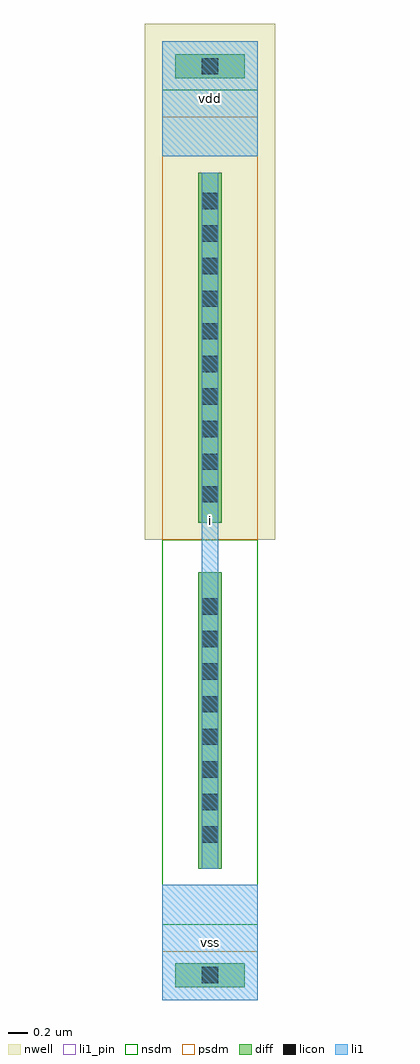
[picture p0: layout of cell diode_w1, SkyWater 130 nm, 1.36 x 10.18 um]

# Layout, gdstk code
import gdstk
lib = gdstk.Library(unit=1e-6, precision=1e-09)
def R(c, l, rs):  # rectangles x0, y0, x1, y1
    for r in rs: c.add(gdstk.rectangle(r[:2], r[2:], *l))
def A(c, l, x, y, w, h, nx, ny, dx, dy):  # array of equal rectangles
    R(c, l, [(x+i*dx, y+j*dy, x+i*dx+w, y+j*dy+h) for i in range(nx) for j in range(ny)])
nwell = (64, 20)
diff = (65, 20)
licon = (66, 44)
li1_pin = (67, 16)
li1 = (67, 20)
nsdm = (93, 44)
psdm = (94, 20)

diode_w1 = lib.new_cell('diode_w1')
R(diode_w1, nwell, [(-0.18,4.8,1.18,10.18)])
R(diode_w1, diff, [(0.135,0.135,0.865,0.385), (0.375,1.37,0.625,4.46), (0.375,4.98,0.625,8.63), (0.135,9.615,0.865,9.865)])
A(diode_w1, licon, 0.415, 1.64, 0.17, 0.17, 1, 8, 0, 0.34)
A(diode_w1, licon, 0.415, 5.19, 0.17, 0.17, 1, 10, 0, 0.34)
R(diode_w1, licon, [(0.415,0.175,0.585,0.345), (0.415,9.655,0.585,9.825)])
R(diode_w1, li1_pin, [(0,0,1,1.2), (0.415,1.37,0.585,8.63), (0,8.8,1,10)])
R(diode_w1, li1, [(0,0,1,1.2), (0.415,1.37,0.585,8.63), (0,8.8,1,10)])
R(diode_w1, nsdm, [(0,0.785,1,4.8), (0,9.49,1,10)])
R(diode_w1, psdm, [(0,0,1,0.51), (0,4.8,1,9.215)])
diode_w1.add(gdstk.Label('vdd', (0.5,9.4), layer=67, texttype=16))
diode_w1.add(gdstk.Label('vss', (0.5,0.6), layer=67, texttype=16))
diode_w1.add(gdstk.Label('i', (0.5,5), layer=67, texttype=16))

lib.write_gds('diode_w1.gds')
